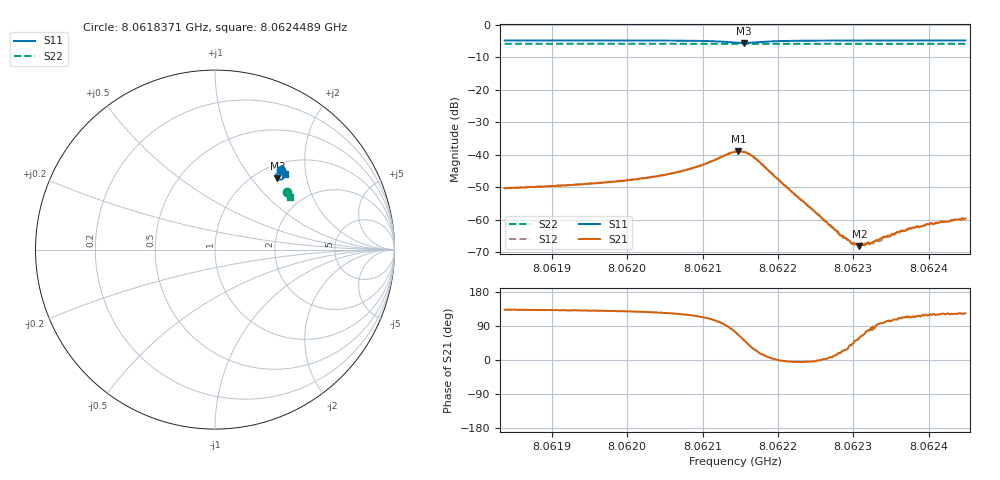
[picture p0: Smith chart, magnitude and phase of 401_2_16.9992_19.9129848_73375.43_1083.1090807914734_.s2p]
#  HZ  S  RI  R  50.00
! Rohde & Schwarz Vector Network Analyzer
! Rohde-Schwarz,ZNB20-2Port,1311601062101988,3.16
! Created: UTC 3/20/2024, 11:10:03 PM
! freq[Hz]  re:S11  im:S11  re:S21  im:S21  re:S12  im:S12  re:S22  im:S22
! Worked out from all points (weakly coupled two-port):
!   401 points, 8.0618371 GHz to 8.0624489 GHz, reference 50 ohm
!   highest |S21| = -38.84 dB at 8.0621476 GHz (marker M1); lowest = -68.1 dB at 8.0623082 GHz (marker M2)
!   lowest |S11| = -5.6 dB at 8.0621553 GHz (marker M3), VSWR 3.23, Z = 62 + j68 ohm
!   |S11| at or under -10 dB: nowhere
!   |S22| runs from -5.9 to -5.8 dB; largest |S21 - S12| = 0.0008
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8.06183712e9  0.3667 0.4443  -0.00208 0.00224  -0.00199 0.00241  0.3988 0.3214
8.0619396e9  0.3738 0.438  -0.00228 0.00268  -0.00212 0.00282  0.4027 0.3161
8.06199619e9  0.3781 0.4335  -0.00249 0.00315  -0.00229 0.00332  0.4048 0.3133
8.06204208e9  0.3821 0.4282  -0.00272 0.0039  -0.00249 0.0041  0.4065 0.3109
8.06209255e9  0.3865 0.417  -0.00284 0.00589  -0.00249 0.00611  0.4081 0.3079
8.06214303e9  0.3655 0.3899  0.00304 0.0107  0.00374 0.0107  0.4086 0.3044
8.06214762e9  0.3588 0.3904  0.00456 0.0105  0.0052 0.0102  0.4086 0.3045
8.06215526e9  0.3478 0.3963  0.00689 0.00867  0.00737 0.00841  0.4084 0.3045
8.06216444e9  0.3413 0.4091  0.00805 0.00565  0.0085 0.00513  0.4085 0.3048
8.06217362e9  0.3427 0.4211  0.00753 0.00297  0.00788 0.00252  0.4091 0.3048
8.06220574e9  0.3604 0.4353  0.00366 -0.000118  0.00371 -0.000352  0.4111 0.3037
8.06224551e9  0.3724 0.4344  0.00144 -8.99e-05  0.00142 -0.000206  0.4131 0.3016
8.06228374e9  0.3787 0.4318  0.000536 0.000194  0.000537 0.000155  0.4146 0.2995
8.06229598e9  0.3801 0.4311  0.000358 0.000294  0.000375 0.000254  0.415 0.2989
8.06229904e9  0.3805 0.4309  0.000315 0.000296  0.000354 0.000241  0.4152 0.2988
8.06230822e9  0.3816 0.4302  0.000201 0.000339  0.00025 0.000321  0.4156 0.2983
8.06232504e9  0.3833 0.4292  8.45e-05 0.000436  8.02e-05 0.000455  0.4161 0.2974
8.06233728e9  0.3844 0.4285  -5.9e-05 0.000518  -3.04e-06 0.000474  0.4165 0.2967
8.06234798e9  0.3852 0.4277  -0.000142 0.000549  -0.000102 0.000536  0.4169 0.2961
8.06237399e9  0.3873 0.4261  -0.00028 0.000684  -0.000233 0.000706  0.4177 0.2948
8.06239999e9  0.3894 0.4246  -0.000404 0.000755  -0.000356 0.000787  0.4188 0.2934
8.06244893e9  0.3927 0.4217  -0.000575 0.000877  -0.00053 0.000902  0.4205 0.2909
